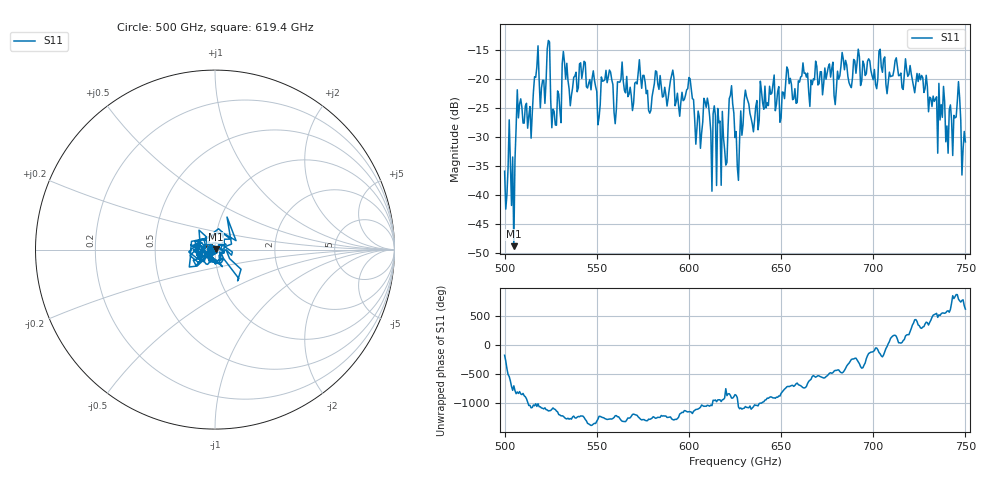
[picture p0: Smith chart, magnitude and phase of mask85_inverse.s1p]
!Created with skrf (http://scikit-rf.org).
# GHz S MA R 50.0
!freq magS11 angS11
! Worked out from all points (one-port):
!   401 points, 500 GHz to 750 GHz, reference 50 ohm
!   lowest |S11| = -48.8 dB at 505 GHz (marker M1), VSWR 1.01, Z = 50.3 + j0.113 ohm
!   |S11| at or under -10 dB: start of sweep to end of sweep
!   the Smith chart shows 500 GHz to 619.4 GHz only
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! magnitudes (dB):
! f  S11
! 500 GHz  -35.9
! 505 GHz  -48.8
! 508.1 GHz  -24.3
! 513.8 GHz  -24.7
! 516.9 GHz  -19.7
! 520.6 GHz  -20.2
! 523.8 GHz  -13.4
! 526.9 GHz  -25.6
! 531.2 GHz  -17.4
! 542.5 GHz  -18.6
! 550.6 GHz  -27.9
! 562.5 GHz  -20.5
! 593.8 GHz  -22.4
! 600 GHz  -19.7
! 605 GHz  -25.5
! 609.4 GHz  -24.9
! 618.8 GHz  -30.1
! 623.1 GHz  -21.1
! 625 GHz  -30.1
! 627.5 GHz  -30.4
! 631.2 GHz  -23.0
! 634.4 GHz  -27.7
! 656.2 GHz  -23.6
! 687.5 GHz  -21.1
! 718.8 GHz  -19.5
! 740 GHz  -28.1
! 746.2 GHz  -20.5
! 750 GHz  -30.8
